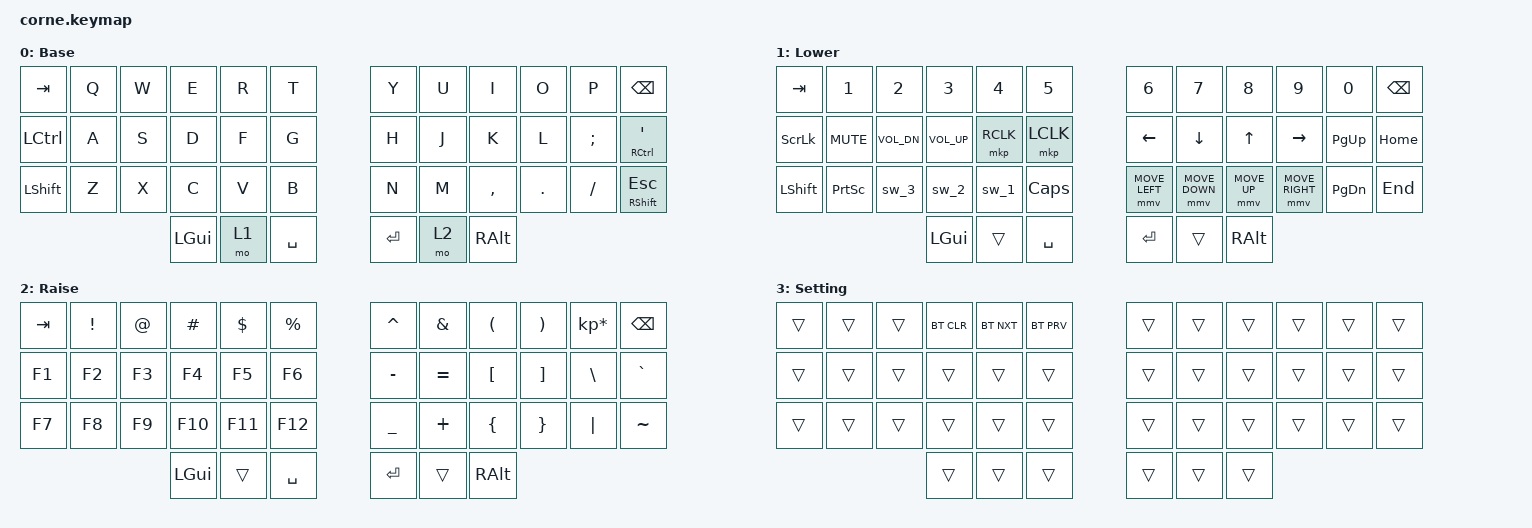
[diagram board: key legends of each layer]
/*
 * Copyright (c) 2020 The ZMK Contributors
 *
 * SPDX-License-Identifier: MIT
 */

#include <behaviors.dtsi>
#include <dt-bindings/zmk/keys.h>
#include <dt-bindings/zmk/bt.h>
#include <dt-bindings/zmk/pointing.h>

/ {

    macros {
        sw_1: sw_1 {
            compatible = "zmk,behavior-macro";
            label = "SW_1";
             #binding-cells = <0>;
             wait-ms = <40>;
             tap-ms = <40>;
            bindings =
                  <&macro_press &kp LGUI>
                , <&macro_tap &kp SPACE>
                , <&macro_release &kp LGUI>
                , <&macro_tap &kp SEMI>
                , <&macro_press &kp LGUI>
                , <&macro_tap &kp SPACE>
                , <&macro_release &kp LGUI>
                ;
        };

        sw_2: sw_2 {
            compatible = "zmk,behavior-macro";
            label = "SW_2";
             #binding-cells = <0>;
             wait-ms = <40>;
             tap-ms = <40>;
            bindings =
                  <&macro_press &kp LGUI>
                , <&macro_tap &kp SPACE>
                , <&macro_release &kp LGUI>
                , <&macro_tap &kp SQT>
                , <&macro_press &kp LGUI>
                , <&macro_tap &kp SPACE>
                , <&macro_release &kp LGUI>
                ;
        };

        sw_3: sw_3 {
            compatible = "zmk,behavior-macro";
            label = "SW_3";
             #binding-cells = <0>;
             wait-ms = <40>;
             tap-ms = <40>;
            bindings =
                  <&macro_press &kp LGUI>
                , <&macro_tap &kp SPACE>
                , <&macro_release &kp LGUI>
                , <&macro_tap &kp LBKT> 
                , <&macro_press &kp LGUI>
                , <&macro_tap &kp SPACE>
                , <&macro_release &kp LGUI>
                ;
        };
        
    };
        keymap {
                compatible = "zmk,keymap";

                default_layer {
// -----------------------------------------------------------------------------------------
// |  TAB |  Q  |  W  |  E  |  R  |  T  |   |  Y  |  U   |  I  |  O  |  P  | BKSP |
// | CTRL |  A  |  S  |  D  |  F  |  G  |   |  H  |  J   |  K  |  L  |  ;  |  '   |
// | SHFT |  Z  |  X  |  C  |  V  |  B  |   |  N  |  M   |  ,  |  .  |  /  | ESC  |
//                    | GUI | LWR | SPC |   | ENT | RSE  | ALT |
                        display-name = "Base";
                        bindings = <
   &kp TAB   &kp Q       &kp W          &kp E         &kp R         &kp T        &kp Y     &kp U         &kp I         &kp O       &kp P     &kp BSPC
   &kp LCTRL &kp A       &kp S          &kp D         &kp F         &kp G        &kp H     &kp J         &kp K         &kp L       &kp SEMI  &mt RCTRL SQT
   &kp LSHFT &kp Z       &kp X          &kp C         &kp V         &kp B        &kp N     &kp M         &kp COMMA     &kp DOT     &kp FSLH  &mt RSHIFT ESCAPE
                                        &kp LGUI      &mo 1         &kp SPACE    &kp RET   &mo 2         &kp RALT
                        >;
                };
                lower_layer {
// -----------------------------------------------------------------------------------------
// |  TAB |  1  |  2  |  3  |  4  |  5  |   |  6  |  7  |  8  |  9  |    0   | BKSP |
// | BTCLR| BT1 | BT2 | BT3 | M R | M L |   | LFT | DWN |  UP | RGT | PG UP  | HOME |
// | SHFT |     |     |     |     |     |   | MR  | MD  |  MU |  ML | PG DWN | END  |
//                    | GUI |     | SPC |   | ENT |     | ALT |
                        display-name = "Lower";
                        bindings = <
   &kp TAB    &kp N1      &kp N2        &kp N3        &kp N4       &kp N5           &kp N6           &kp N7          &kp N8        &kp N9           &kp N0         &kp BSPC
   &kp SLCK   &kp C_MUTE  &kp C_VOL_DN  &kp C_VOL_UP  &mkp RCLK    &mkp LCLK        &kp LEFT         &kp DOWN        &kp UP        &kp RIGHT        &kp PAGE_UP    &kp HOME
   &kp LSHFT  &kp PSCRN   &sw_3         &sw_2         &sw_1        &kp CLCK         &mmv MOVE_LEFT   &mmv MOVE_DOWN  &mmv MOVE_UP  &mmv MOVE_RIGHT  &kp PAGE_DOWN  &kp END
                          	            &kp LGUI      &trans       &kp SPACE        &kp RET  &trans  &kp RALT
                        >;
                };

                raise_layer {
// -----------------------------------------------------------------------------------------
// |  TAB |  !  |  @  |  #  |  $  |  %  |   |  ^  |  &  |  *  |  (  |  )  | BKSP |
// | CTRL |     |     |     |     |     |   |  -  |  =  |  [  |  ]  |  \  |  `   |
// | SHFT |     |     |     |     |     |   |  _  |  +  |  {  |  }  | "|" |  ~   |
//                    | GUI |     | SPC |   | ENT |     | ALT |
                        display-name = "Raise";
                        bindings = <
   &kp  TAB  &kp EXCL &kp AT   &kp HASH  &kp DLLR  &kp PRCNT    &kp CARET &kp AMPS  &kp LPAR   &kp RPAR &kp KP_MULTIPLY &kp BSPC
   &kp F1    &kp F2    &kp F3  &kp F4    &kp F5    &kp F6       &kp MINUS &kp EQUAL &kp LBKT   &kp RBKT &kp BSLH        &kp GRAVE
   &kp F7    &kp F8    &kp F9  &kp F10   &kp F11   &kp F12      &kp UNDER &kp PLUS  &kp LBRC   &kp RBRC &kp PIPE        &kp TILDE
                    	         &kp LGUI  &trans    &kp SPACE    &kp RET   &trans    &kp RALT
                        >;
                };

        adjust {
            // -----------------------------------------------------------------------------------------
            // |      |     |     |BTCLR|BT_NXT|BT_PRV|    |     |     |     |     |     |      |
            // |      |     |     |     |      |      |    |     |     |     |     |     |      |
            // |      |     |     |     |      |      |    |     |     |     |     |     |      |
            //                    |     |      |      |    |     |     |     |
            label = "Setting";
            bindings = <
&trans  &trans  &trans  &bt BT_CLR  &bt BT_NXT  &bt BT_PRV    &trans  &trans  &trans  &trans  &trans  &trans
&trans  &trans  &trans  &trans      &trans      &trans        &trans  &trans  &trans  &trans  &trans  &trans
&trans  &trans  &trans  &trans      &trans      &trans        &trans  &trans  &trans  &trans  &trans  &trans
                        &trans      &trans      &trans        &trans  &trans  &trans
            >;

        };
                extra_1 {
                        status = "reserved";
                };

                extra_2 {
                        status = "reserved";
                };

                extra_3 {
                        status = "reserved";
                };
        };

    conditional_layers {
        compatible = "zmk,conditional-layers";

        Settings {
            if-layers = <1 2>;
            then-layer = <3>;
        };
    };
};
